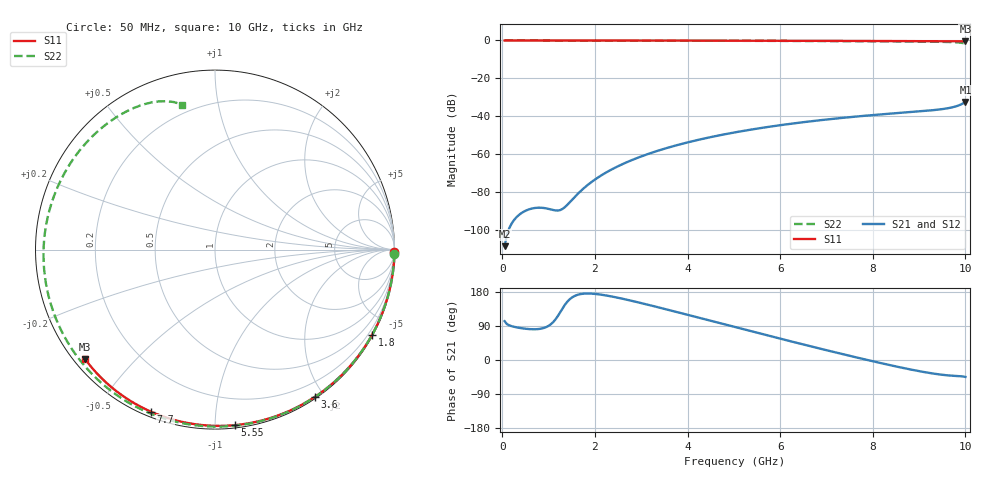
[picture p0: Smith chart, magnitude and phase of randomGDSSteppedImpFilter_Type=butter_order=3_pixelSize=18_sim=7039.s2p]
! freq	dB(S11)	phase(S11)	dB(S12)	phase(S12)
!  dB(S21)	phase(S21)	dB(S22)	phase(S22)
!S-par simulation data
#  GHz  S  DB  R 50
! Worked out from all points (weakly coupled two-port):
!   200 points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, 50 MHz to 10 GHz, reference 50 ohm
!   highest |S21| = -32.48 dB at 10 GHz (marker M1); lowest = -108.8 dB at 50 MHz (marker M2)
!   lowest |S11| = -0.5 dB at 10 GHz (marker M3), VSWR 36.56, Z = 1.55 - j18.3 ohm
!   |S11| at or under -10 dB: nowhere
!   |S22| runs from -1.6 to 0.0 dB; largest |S21 - S12| = 0
!   S11 on the Smith chart (normalised r, x): 50 MHz: open; 1.8 GHz: 0.03, -3.92; 3.6 GHz: 0.02, -1.88; 5.55 GHz: 0.02, -1.12; 7.7 GHz: 0.02, -0.68; 10 GHz: 0.03, -0.37
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0.05  -0.00 -0.8  -108.78 102.4  -108.78 102.4  -0.00 -1.3
0.8  -0.02 -12.9  -88.43 82.0  -88.43 82.0  -0.02 -20.7
1.65  -0.03 -26.3  -80.62 172.8  -80.62 172.8  -0.05 -42.1
1.75  -0.04 -27.9  -78.35 174.9  -78.35 174.9  -0.06 -44.6
1.8  -0.04 -28.6  -77.30 175.3  -77.30 175.3  -0.06 -45.9
2.1  -0.04 -33.3  -71.93 173.0  -71.93 173.0  -0.07 -53.2
2.45  -0.05 -38.7  -67.10 165.5  -67.10 165.5  -0.08 -61.7
2.9  -0.06 -45.5  -62.26 153.1  -62.26 153.1  -0.09 -72.4
3.4  -0.07 -53.0  -58.00 138.1  -58.00 138.1  -0.11 -84.1
3.6  -0.08 -55.9  -56.54 131.9  -56.54 131.9  -0.12 -88.7
4.3  -0.09 -66.1  -52.18 109.8  -52.18 109.8  -0.15 -104.5
5.05  -0.12 -76.6  -48.49 86.1  -48.49 86.1  -0.19 -121.2
5.55  -0.14 -83.5  -46.44 70.4  -46.44 70.4  -0.22 -132.2
6.15  -0.16 -91.5  -44.31 51.7  -44.31 51.7  -0.26 -145.5
6.7  -0.19 -98.7  -42.63 34.9  -42.63 34.9  -0.31 -158.0
7.2  -0.22 -105.1  -41.29 19.9  -41.29 19.9  -0.35 -169.7
7.7  -0.26 -111.4  -40.11 5.3  -40.11 5.3  -0.41 178.0
8.35  -0.31 -119.6  -38.76 -13.0  -38.76 -13.0  -0.49 161.0
8.85  -0.35 -125.7  -37.81 -25.9  -37.81 -25.9  -0.57 146.7
9.3  -0.40 -131.3  -36.87 -35.7  -36.87 -35.7  -0.67 132.4
9.75  -0.45 -136.8  -35.17 -41.8  -35.17 -41.8  -0.92 115.4
10  -0.48 -139.8  -32.48 -44.6  -32.48 -44.6  -1.64 102.7
